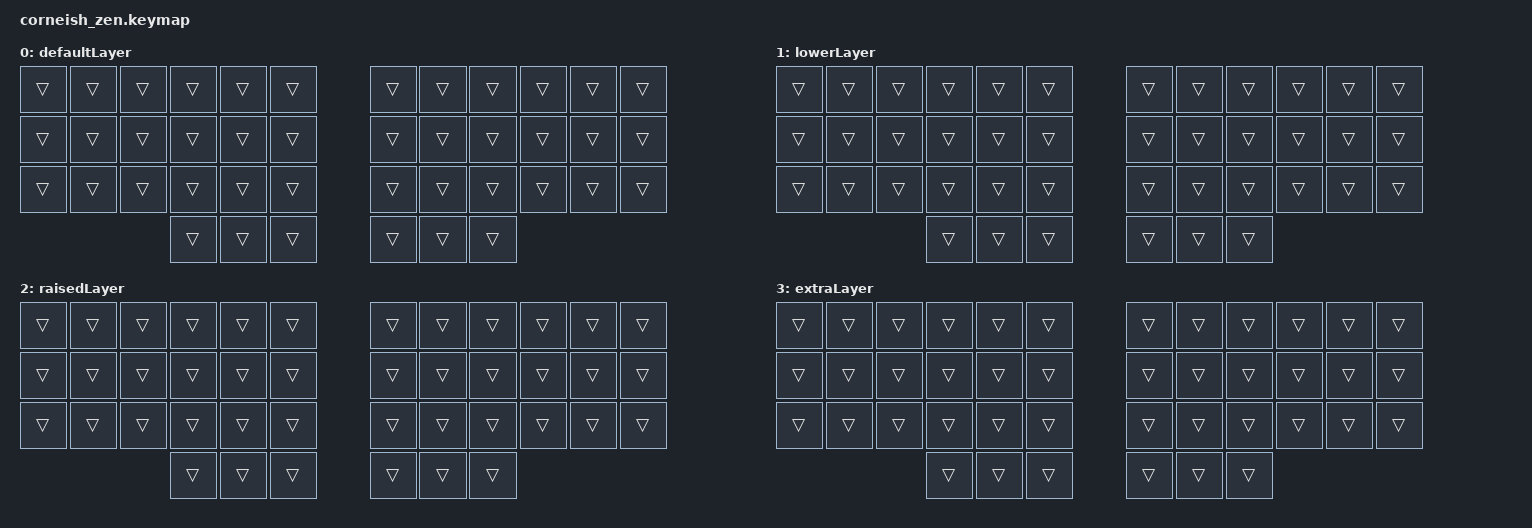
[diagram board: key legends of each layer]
#include <behaviors.dtsi>

/ {
    chosen {
        zmk,physical-layout = &foostan_corne_6col_layout;

        // zmk,physical-layout = &foostan_corne_5col_layout;
    };
};

/ {
    keymap {
        compatible = "zmk,keymap";

        defaultLayer {
            bindings = <
&trans  &trans  &trans  &trans  &trans  &trans    &trans  &trans  &trans  &trans  &trans  &trans
&trans  &trans  &trans  &trans  &trans  &trans    &trans  &trans  &trans  &trans  &trans  &trans
&trans  &trans  &trans  &trans  &trans  &trans    &trans  &trans  &trans  &trans  &trans  &trans
                        &trans  &trans  &trans    &trans  &trans  &trans
            >;
        };

        lowerLayer {
            bindings = <
&trans  &trans  &trans  &trans  &trans  &trans    &trans  &trans  &trans  &trans  &trans  &trans
&trans  &trans  &trans  &trans  &trans  &trans    &trans  &trans  &trans  &trans  &trans  &trans
&trans  &trans  &trans  &trans  &trans  &trans    &trans  &trans  &trans  &trans  &trans  &trans
                        &trans  &trans  &trans    &trans  &trans  &trans
            >;
        };

        raisedLayer {
            bindings = <
&trans  &trans  &trans  &trans  &trans  &trans    &trans  &trans  &trans  &trans  &trans  &trans
&trans  &trans  &trans  &trans  &trans  &trans    &trans  &trans  &trans  &trans  &trans  &trans
&trans  &trans  &trans  &trans  &trans  &trans    &trans  &trans  &trans  &trans  &trans  &trans
                        &trans  &trans  &trans    &trans  &trans  &trans
            >;
        };

        extraLayer {
            bindings = <
&trans  &trans  &trans  &trans  &trans  &trans    &trans  &trans  &trans  &trans  &trans  &trans
&trans  &trans  &trans  &trans  &trans  &trans    &trans  &trans  &trans  &trans  &trans  &trans
&trans  &trans  &trans  &trans  &trans  &trans    &trans  &trans  &trans  &trans  &trans  &trans
                        &trans  &trans  &trans    &trans  &trans  &trans
            >;
        };
    };
};
